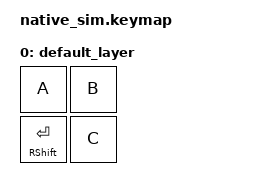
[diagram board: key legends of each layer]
#include <dt-bindings/zmk/keys.h>
#include <behaviors.dtsi>
#include <dt-bindings/zmk/kscan_mock.h>

&mt {
    flavor = "hold-preferred";
};

/ {
    combos {
        compatible = "dax,runtime-combo-defaults";
        combo_one {
            timeout-ms = <40>;
            key-positions = <0 1>;
            bindings = <&kp X>;
        };
    };

    keymap {
        compatible = "zmk,keymap";

        default_layer {
            bindings = <
            &kp A         &kp B
            &mt RSHFT RET &kp C
            >;
        };
    };
};

&kscan {
    events = <
    ZMK_MOCK_PRESS(1,0,10)
    ZMK_MOCK_PRESS(0,1,10)
    ZMK_MOCK_PRESS(1,1,10)
    ZMK_MOCK_RELEASE(0,1,50)
    ZMK_MOCK_RELEASE(1,1,50)
    >;
};
